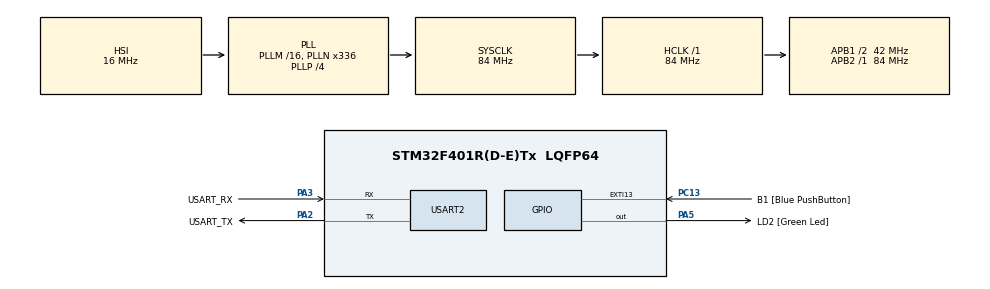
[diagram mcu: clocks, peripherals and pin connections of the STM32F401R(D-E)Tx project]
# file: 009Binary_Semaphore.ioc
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Mcu.Family=STM32F4
Mcu.Name=STM32F401R(D-E)Tx
Mcu.Package=LQFP64
NVIC.PriorityGroup=NVIC_PRIORITYGROUP_4
NVIC.TIM2_IRQn=true\:15\:0\:false\:false\:true\:false\:true\:true
NVIC.TimeBase=TIM2_IRQn
NVIC.TimeBaseIP=TIM2
NVIC.USART2_IRQn=true\:6\:0\:true\:false\:true\:true\:true\:true
PA13.GPIO_Label=TMS
PA13.Signal=SYS_JTMS-SWDIO
PA14.GPIO_Label=TCK
PA14.Signal=SYS_JTCK-SWCLK
PA2.GPIO_Label=USART_TX
PA2.GPIO_Mode=GPIO_MODE_AF_PP
PA2.GPIO_PuPd=GPIO_NOPULL
PA2.GPIO_Speed=GPIO_SPEED_FREQ_LOW
PA2.Mode=Asynchronous
PA2.Signal=USART2_TX
PA3.GPIO_Label=USART_RX
PA3.GPIO_Mode=GPIO_MODE_AF_PP
PA3.GPIO_PuPd=GPIO_NOPULL
PA3.GPIO_Speed=GPIO_SPEED_FREQ_LOW
PA3.Mode=Asynchronous
PA3.Signal=USART2_RX
PA5.GPIO_Label=LD2 [Green Led]
PA5.GPIO_Mode=GPIO_MODE_OUTPUT_PP
PA5.GPIO_PuPd=GPIO_NOPULL
PA5.GPIO_Speed=GPIO_SPEED_FREQ_LOW
PA5.Signal=GPIO_Output
PB3.GPIO_Label=SWO
PB3.Signal=SYS_JTDO-SWO
PC13-ANTI_TAMP.GPIO_Label=B1 [Blue PushButton]
PC13-ANTI_TAMP.GPIO_ModeDefaultEXTI=GPIO_MODE_IT_FALLING
PC13-ANTI_TAMP.GPIO_PuPd=GPIO_NOPULL
PC13-ANTI_TAMP.Signal=GPXTI13
PC14-OSC32_IN.Signal=RCC_OSC32_IN
PC15-OSC32_OUT.Signal=RCC_OSC32_OUT
PH0\ -\ OSC_IN.Signal=RCC_OSC_IN
PH1\ -\ OSC_OUT.Signal=RCC_OSC_OUT
ProjectManager.HeapSize=0x200
ProjectManager.StackSize=0x400
ProjectManager.TargetToolchain=STM32CubeIDE
RCC.AHBFreq_Value=84000000
RCC.APB1CLKDivider=RCC_HCLK_DIV2
RCC.APB1Freq_Value=42000000
RCC.APB1TimFreq_Value=84000000
RCC.APB2Freq_Value=84000000
RCC.APB2TimFreq_Value=84000000
RCC.CortexFreq_Value=84000000
RCC.HCLKFreq_Value=84000000
RCC.HSE_VALUE=8000000
RCC.HSI_VALUE=16000000
RCC.LSE_VALUE=32768
RCC.PLLN=336
RCC.PLLP=RCC_PLLP_DIV4
RCC.PLLQ=7
RCC.SYSCLKFreq_VALUE=84000000
RCC.SYSCLKSource=RCC_SYSCLKSOURCE_PLLCLK
RCC.VCOOutputFreq_Value=336000000
USART2.VirtualMode=VM_ASYNC
VP_SYS_VS_tim2.Mode=TIM2
board=NUCLEO-F401RE

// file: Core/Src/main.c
/* USER CODE BEGIN Header */
/**
  ******************************************************************************
  * @file           : main.c
  * @brief          : Main program body
  ******************************************************************************
  * @attention
  *
  * Copyright (c) 2026 STMicroelectronics.
  * All rights reserved.
  *
  * This software is licensed under terms that can be found in the LICENSE file
  * in the root directory of this software component.
  * If no LICENSE file comes with this software, it is provided AS-IS.
  *
  ******************************************************************************
  */
/* USER CODE END Header */
#include "main.h"

/* USER CODE BEGIN Includes */

#include <stdio.h>
#include <stdlib.h>
#include <string.h>

/* FreeRTOS includes. */
#include "FreeRTOS.h"
#include "task.h"
#include "semphr.h"
#include "queue.h"

/* USER CODE END Includes */

UART_HandleTypeDef huart2;

/* USER CODE BEGIN PV */

QueueHandle_t xWorkQueue;
SemaphoreHandle_t xWork;

TaskHandle_t xManagerHandle;
TaskHandle_t xEmployeeHandle;

char usr_msg[250];

/* USER CODE END PV */

void SystemClock_Config(void);
static void MX_GPIO_Init(void);
static void MX_USART2_UART_Init(void);
/* USER CODE BEGIN PFP */

void vManagerTask(void *pvParameters);
void vEmployeeTask(void *pvParameters);
void EmployeeDoWork(uint32_t TicketId);
void printmsg(char *msg);

/* USER CODE END PFP */

int main(void)
{

  /* MCU Configuration--------------------------------------------------------*/

  /* Reset of all peripherals, Initializes the Flash interface and the Systick. */
  HAL_Init();

  /* Configure the system clock */
  SystemClock_Config();

  /* Initialize all configured peripherals */
  MX_GPIO_Init();
  MX_USART2_UART_Init();
  /* USER CODE BEGIN 2 */

  xWork = xSemaphoreCreateBinary();

  xWorkQueue = xQueueCreate(1, sizeof(uint32_t));

  xTaskCreate(vManagerTask, "Manager", 128, NULL, 3, NULL);

  xTaskCreate(vEmployeeTask, "Employee", 128, NULL, 1, NULL);

  vTaskStartScheduler();

  /* USER CODE END 2 */

  /* Infinite loop */
  while (1)
  {

  }
}

void SystemClock_Config(void)
{
  RCC_OscInitTypeDef RCC_OscInitStruct = {0};
  RCC_ClkInitTypeDef RCC_ClkInitStruct = {0};

  /** Configure the main internal regulator output voltage
  */
  __HAL_RCC_PWR_CLK_ENABLE();
  __HAL_PWR_VOLTAGESCALING_CONFIG(PWR_REGULATOR_VOLTAGE_SCALE2);

  /** Initializes the RCC Oscillators according to the specified parameters
  * in the RCC_OscInitTypeDef structure.
  */
  RCC_OscInitStruct.OscillatorType = RCC_OSCILLATORTYPE_HSI;
  RCC_OscInitStruct.HSIState = RCC_HSI_ON;
  RCC_OscInitStruct.HSICalibrationValue = RCC_HSICALIBRATION_DEFAULT;
  RCC_OscInitStruct.PLL.PLLState = RCC_PLL_ON;
  RCC_OscInitStruct.PLL.PLLSource = RCC_PLLSOURCE_HSI;
  RCC_OscInitStruct.PLL.PLLM = 16;
  RCC_OscInitStruct.PLL.PLLN = 336;
  RCC_OscInitStruct.PLL.PLLP = RCC_PLLP_DIV4;
  RCC_OscInitStruct.PLL.PLLQ = 7;
  if (HAL_RCC_OscConfig(&RCC_OscInitStruct) != HAL_OK)
  {
    Error_Handler();
  }

  /** Initializes the CPU, AHB and APB buses clocks
  */
  RCC_ClkInitStruct.ClockType = RCC_CLOCKTYPE_HCLK|RCC_CLOCKTYPE_SYSCLK
                              |RCC_CLOCKTYPE_PCLK1|RCC_CLOCKTYPE_PCLK2;
  RCC_ClkInitStruct.SYSCLKSource = RCC_SYSCLKSOURCE_PLLCLK;
  RCC_ClkInitStruct.AHBCLKDivider = RCC_SYSCLK_DIV1;
  RCC_ClkInitStruct.APB1CLKDivider = RCC_HCLK_DIV2;
  RCC_ClkInitStruct.APB2CLKDivider = RCC_HCLK_DIV1;

  if (HAL_RCC_ClockConfig(&RCC_ClkInitStruct, FLASH_LATENCY_2) != HAL_OK)
  {
    Error_Handler();
  }
}

static void MX_USART2_UART_Init(void)
{

  huart2.Instance = USART2;
  huart2.Init.BaudRate = 115200;
  huart2.Init.WordLength = UART_WORDLENGTH_8B;
  huart2.Init.StopBits = UART_STOPBITS_1;
  huart2.Init.Parity = UART_PARITY_NONE;
  huart2.Init.Mode = UART_MODE_TX_RX;
  huart2.Init.HwFlowCtl = UART_HWCONTROL_NONE;
  huart2.Init.OverSampling = UART_OVERSAMPLING_16;
  if (HAL_UART_Init(&huart2) != HAL_OK)
  {
    Error_Handler();
  }

}

static void MX_GPIO_Init(void)
{
  GPIO_InitTypeDef GPIO_InitStruct = {0};

  /* GPIO Ports Clock Enable */
  __HAL_RCC_GPIOC_CLK_ENABLE();
  __HAL_RCC_GPIOH_CLK_ENABLE();
  __HAL_RCC_GPIOA_CLK_ENABLE();
  __HAL_RCC_GPIOB_CLK_ENABLE();

  /*Configure GPIO pin Output Level */
  HAL_GPIO_WritePin(LD2_GPIO_Port, LD2_Pin, GPIO_PIN_RESET);

  /*Configure GPIO pin : B1_Pin */
  GPIO_InitStruct.Pin = B1_Pin;
  GPIO_InitStruct.Mode = GPIO_MODE_IT_FALLING;
  GPIO_InitStruct.Pull = GPIO_NOPULL;
  HAL_GPIO_Init(B1_GPIO_Port, &GPIO_InitStruct);

  /*Configure GPIO pin : LD2_Pin */
  GPIO_InitStruct.Pin = LD2_Pin;
  GPIO_InitStruct.Mode = GPIO_MODE_OUTPUT_PP;
  GPIO_InitStruct.Pull = GPIO_NOPULL;
  GPIO_InitStruct.Speed = GPIO_SPEED_FREQ_LOW;
  HAL_GPIO_Init(LD2_GPIO_Port, &GPIO_InitStruct);

}

/* USER CODE BEGIN 4 */

void printmsg(char *msg)
{
    HAL_UART_Transmit(&huart2, (uint8_t*)msg, strlen(msg), HAL_MAX_DELAY);
}

void vManagerTask(void *pvParameters)
{
    uint32_t xWorkTicketId;
    BaseType_t xStatus;

    xSemaphoreGive(xWork);

    for(;;)
    {
        xWorkTicketId = rand() & 0x1FF;

        xStatus = xQueueSend(xWorkQueue, &xWorkTicketId, portMAX_DELAY);

        if(xStatus != pdPASS)
        {
            sprintf(usr_msg,"Manager: Could not send to queue\r\n");
            printmsg(usr_msg);
        }
        else
        {
            sprintf(usr_msg,"Manager: Assigned Ticket ID %lu\r\n",xWorkTicketId);
            printmsg(usr_msg);

            xSemaphoreGive(xWork);

            taskYIELD();
        }
    }
}

void EmployeeDoWork(uint32_t TicketId)
{
    sprintf(usr_msg,"Employee: Working on Ticket ID %lu\r\n",TicketId);
    printmsg(usr_msg);

    vTaskDelay(pdMS_TO_TICKS(TicketId));
}

void vEmployeeTask(void *pvParameters)
{
    uint32_t xWorkTicketId;
    BaseType_t xStatus;

    for(;;)
    {
        xSemaphoreTake(xWork, portMAX_DELAY);

        xStatus = xQueueReceive(xWorkQueue, &xWorkTicketId, 0);

        if(xStatus == pdPASS)
        {
            EmployeeDoWork(xWorkTicketId);
        }
        else
        {
            sprintf(usr_msg,"Employee: Queue empty\r\n");
            printmsg(usr_msg);
        }
    }
}

/* USER CODE END 4 */

void HAL_TIM_PeriodElapsedCallback(TIM_HandleTypeDef *htim)
{
  if (htim->Instance == TIM2) {
    HAL_IncTick();
  }
}

void Error_Handler(void)
{
  __disable_irq();
  while (1)
  {
  }
}
